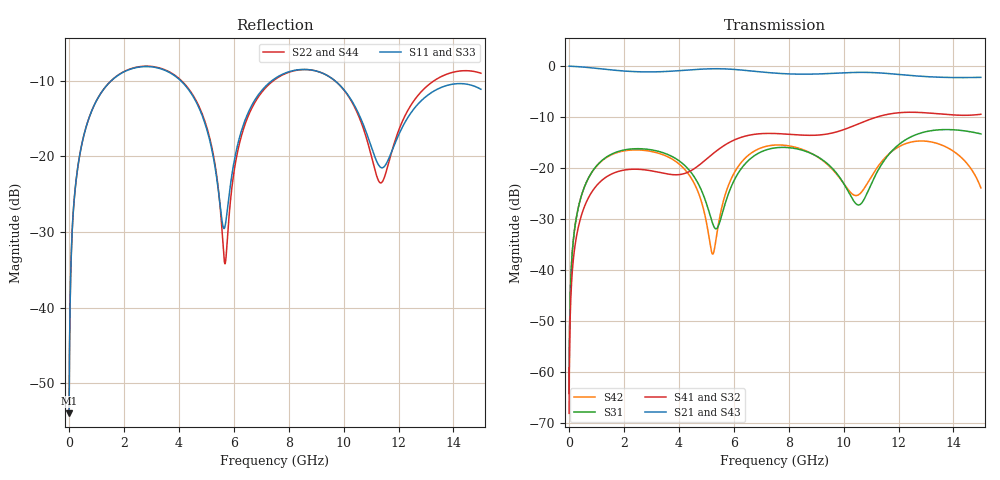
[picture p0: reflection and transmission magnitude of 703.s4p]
! Created with skrf 1.8.0 (http://scikit-rf.org).
# GHz S RI R 50.0
!freq ReS11 ImS11 ReS12 ImS12 ReS13 ImS13
! ReS14 ImS14
! ReS21 ImS21 ReS22 ImS22 ReS23 ImS23
! ReS24 ImS24
! ReS31 ImS31 ReS32 ImS32 ReS33 ImS33
! ReS34 ImS34
! ReS41 ImS41 ReS42 ImS42 ReS43 ImS43
! ReS44 ImS44
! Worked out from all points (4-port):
!   2499 points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, 5 MHz to 15 GHz, reference 50 ohm
!   strongest paths, dB at 5 MHz, 3.476 GHz, 7.19 GHz, 11.1 GHz, 15 GHz:
!     S21: 0.0, -1.1, -1.2, -1.3, -2.2
!     S43: 0.0, -1.1, -1.2, -1.3, -2.2
!     S41: -68.1, -21.1, -13.2, -10.2, -9.4
!     S32: -68.1, -21.1, -13.2, -10.2, -9.5
!     S31: -64.2, -17.1, -16.4, -22.1, -13.3
!     S42: -64.2, -17.5, -15.7, -20.9, -23.9
!   lowest |S11| = -54.0 dB at 5 MHz (marker M1), VSWR 1.00, Z = 50.2 + j0.121 ohm
!   |S11| at or under -10 dB: start of sweep to 1.534 GHz; 4.077 GHz to 7.378 GHz (3.301 GHz wide, 57.6 % of centre); 9.694 GHz to end of sweep
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0.005  0.00159 0.00121  0.9984 -0.00309  7.89e-05 0.000612  -7.67e-05 -0.000386
       0.9984 -0.00309  0.00159 0.00121  -7.67e-05 -0.000386  7.88e-05 0.000612
       7.89e-05 0.000612  -7.67e-05 -0.000386  0.00159 0.00121  0.9984 -0.00309
       -7.67e-05 -0.000386  7.88e-05 0.000612  0.9984 -0.00309  0.00159 0.00121
0.3626511  0.0284 0.0909  0.9608 -0.2213  0.0135 0.0414  -0.011 -0.0257
           0.9608 -0.2213  0.0285 0.0909  -0.011 -0.0257  0.0129 0.0416
           0.0135 0.0414  -0.011 -0.0257  0.0284 0.0909  0.9608 -0.2213
           -0.011 -0.0257  0.0129 0.0416  0.9608 -0.2213  0.0285 0.0909
1.619545  0.2727 0.1796  0.5431 -0.7341  0.1287 0.0544  -0.089 -0.00521
          0.5431 -0.7341  0.2749 0.1781  -0.0889 -0.00535  0.1226 0.0628
          0.1287 0.0544  -0.0889 -0.00535  0.2728 0.1795  0.543 -0.7341
          -0.089 -0.00521  0.1226 0.0628  0.543 -0.7341  0.2748 0.1782
5.683618  0.0337 0.00758  -0.9372 -0.0486  -0.0132 0.0425  -0.00262 0.1687
          -0.9372 -0.0486  0.0195 -0.00024  -0.00516 0.1687  0.0258 0.0477
          -0.0132 0.0425  -0.00516 0.1687  0.0319 0.00763  -0.9372 -0.0483
          -0.00262 0.1687  0.0258 0.0477  -0.9372 -0.0483  0.0213 -0.000255
8.803668  0.3723 -0.0362  0.0199 0.8338  0.1085 -0.0881  0.2007 -0.0599
          0.0199 0.8338  0.3722 -0.0345  0.201 -0.0551  0.1096 -0.0878
          0.1085 -0.0881  0.201 -0.0551  0.3746 -0.0364  0.0204 0.833
          0.2007 -0.0599  0.1096 -0.0878  0.0204 0.833  0.3735 -0.035
11.55481  0.0882 0.0154  0.8481 0.0238  0.0364 0.1213  -0.00787 -0.3343
          0.8481 0.0238  0.0731 0.0316  0.00147 -0.3349  -0.00159 0.1299
          0.0364 0.1213  0.00147 -0.3349  0.0842 0.0136  0.8481 0.0237
          -0.00787 -0.3343  -0.00159 0.1299  0.8481 0.0237  0.0779 0.0269
15  0.2735 -0.053  -0.1532 -0.7599  0.0225 -0.2152  -0.3206 0.104
    -0.1532 -0.7599  0.3413 -0.0998  -0.3238 0.0909  0.0539 -0.0344
    0.0225 -0.2152  -0.3238 0.0909  0.2725 -0.0542  -0.1556 -0.7598
    -0.3206 0.104  0.0539 -0.0344  -0.1556 -0.7598  0.3387 -0.103
